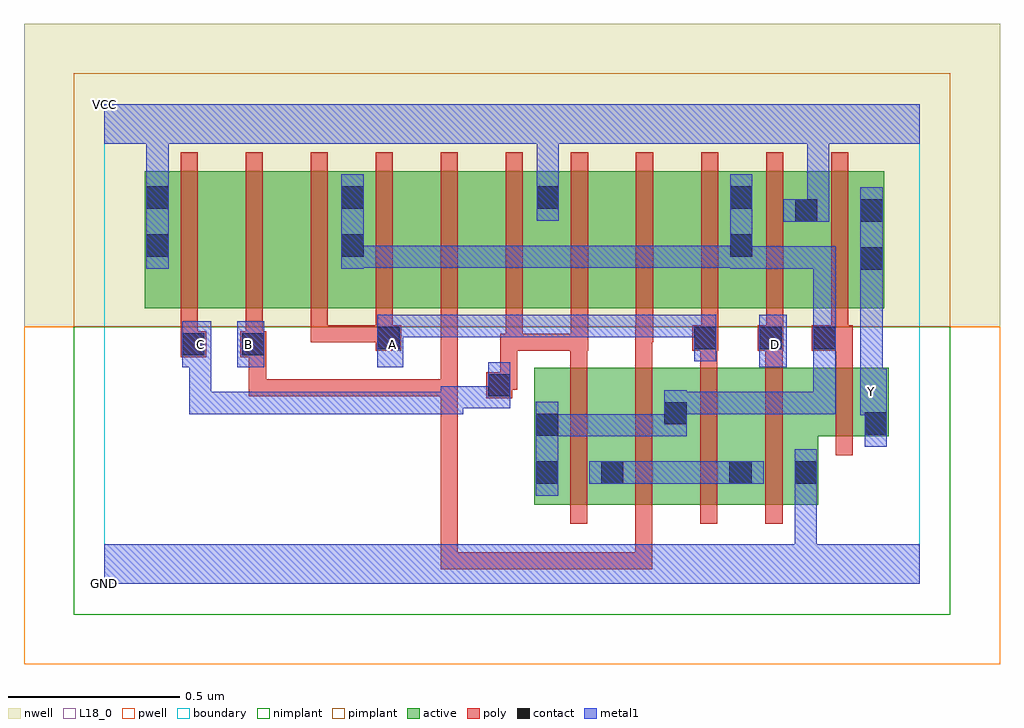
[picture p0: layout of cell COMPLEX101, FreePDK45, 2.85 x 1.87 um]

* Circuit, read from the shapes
.subckt COMPLEX101 A B C D GND VCC Y
M1 n1 C n2 VSUBS nfet w=0.4u l=0.05u
M2 n2 B n1 VSUBS nfet w=0.4u l=0.05u
M3 n1 A n2 VSUBS nfet w=0.4u l=0.05u
M4 GND D n1 VSUBS nfet w=0.4u l=0.05u
M5 Y n2 GND VSUBS nfet w=0.2u l=0.05u
M6 n3 C VCC n4 pfet w=0.4u l=0.05u
M7 n5 B n3 n4 pfet w=0.4u l=0.05u
M8 n2 A n5 n4 pfet w=0.4u l=0.05u
M9 n6 A n2 n4 pfet w=0.4u l=0.05u
M10 n7 B n6 n4 pfet w=0.4u l=0.05u
M11 VCC C n7 n4 pfet w=0.4u l=0.05u
M12 n8 C VCC n4 pfet w=0.4u l=0.05u
M13 n9 B n8 n4 pfet w=0.4u l=0.05u
M14 n2 A n9 n4 pfet w=0.4u l=0.05u
M15 VCC D n2 n4 pfet w=0.4u l=0.05u
M16 Y n2 VCC n4 pfet w=0.4u l=0.05u
.ends

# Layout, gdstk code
import gdstk
lib = gdstk.Library(unit=1e-6, precision=1e-09)
def R(c, l, rs):  # rectangles x0, y0, x1, y1
    for r in rs: c.add(gdstk.rectangle(r[:2], r[2:], *l))
def A(c, l, x, y, w, h, nx, ny, dx, dy):  # array of equal rectangles
    R(c, l, [(x+i*dx, y+j*dy, x+i*dx+w, y+j*dy+h) for i in range(nx) for j in range(ny)])
active = (1, 0)
pwell = (2, 0)
nwell = (3, 0)
nimplant = (4, 0)
pimplant = (5, 0)
poly = (9, 0)
contact = (10, 0)
metal1 = (11, 0)
L18_0 = (18, 0)
boundary = (235, 0)

complex101 = lib.new_cell('COMPLEX101')
A(complex101, active, 0.117, 0.805, 0.225, 0.4, 3, 1, 0.57, 0)
A(complex101, active, 0.342, 0.805, 0.19, 0.4, 3, 1, 0.57, 0)
R(complex101, active, [(1.255,0.23,1.52,0.63), (1.255,0.23,1.33,0.63), (1.445,0.23,1.705,0.63), (1.63,0.23,1.895,0.63), (1.82,0.23,2.085,0.63), (1.82,0.23,1.895,0.582), (2.01,0.23,2.085,0.597), (1.445,0.287,1.52,0.537), (1.63,0.295,1.705,0.63), (2.01,0.43,2.29,0.63), (2.215,0.43,2.29,0.63), (0.117,0.805,0.192,1.205), (0.532,0.805,0.762,1.205), (1.102,0.805,1.332,1.205), (1.672,0.805,1.897,1.205), (1.822,0.805,2.087,1.205), (2.012,0.805,2.277,1.205), (2.202,0.805,2.277,1.2), (0.687,0.907,0.762,1.2), (1.257,0.907,1.332,1.205), (1.822,0.907,1.897,1.2), (2.012,0.907,2.087,1.205)])
R(complex101, pwell, [(-0.235,-0.235,2.615,0.75)])
R(complex101, nwell, [(-0.235,0.75,2.615,1.635)])
R(complex101, nimplant, [(-0.09,-0.09,2.47,0.75)])
R(complex101, pimplant, [(-0.09,0.75,2.47,1.49)])
A(complex101, poly, 1.36, 0.175, 0.05, 0.51, 4, 1, 0.19, 0)
A(complex101, poly, 1.552, 0.705, 0.05, 0.095, 4, 1, 0.19, 0)
A(complex101, poly, 0.222, 0.75, 0.05, 0.51, 11, 1, 0.19, 0)
R(complex101, poly, [(0.982,0.042,1.032,0.092), (0.982,0.042,1.032,0.092), (0.982,0.042,1.032,0.092), (0.982,0.042,1.032,0.092), (0.982,0.042,1.032,0.092), (0.982,0.042,1.277,0.092), (0.982,0.042,1.032,0.597), (1.227,0.042,1.277,0.092), (1.227,0.042,1.277,0.092), (1.227,0.042,1.277,0.092), (1.227,0.042,1.41,0.092), (1.36,0.042,1.41,0.092), (1.36,0.042,1.6,0.092), (1.55,0.042,1.6,0.225), (1.55,0.042,1.6,0.092), (1.55,0.042,1.6,0.092), (1.55,0.042,1.6,0.092), (2.135,0.375,2.185,0.685), (1.115,0.542,1.19,0.617), (0.422,0.547,0.472,0.597), (0.422,0.547,0.472,0.597), (0.422,0.547,0.472,0.597), (0.422,0.547,0.472,0.597), (0.422,0.547,0.472,0.597), (0.422,0.547,0.605,0.597), (0.422,0.547,0.472,0.712), (0.555,0.547,0.605,0.597), (0.555,0.547,0.605,0.597), (0.555,0.547,0.605,0.597), (0.555,0.547,0.9,0.597), (0.85,0.547,0.9,0.597), (0.85,0.547,0.9,0.597), (0.85,0.547,0.9,0.597), (0.85,0.547,1.032,0.597), (0.982,0.547,1.032,0.597), (0.982,0.547,1.032,0.597), (0.982,0.547,1.032,0.597), (0.982,0.547,1.032,0.597), (0.982,0.547,1.032,0.597), (0.982,0.547,1.032,0.597), (0.982,0.547,1.032,0.597), (0.982,0.547,1.032,0.8), (1.14,0.567,1.19,0.617), (1.14,0.567,1.205,0.617), (1.155,0.567,1.205,0.73), (1.36,0.635,1.41,0.73), (1.55,0.635,1.6,0.755), (1.74,0.635,1.79,0.73), (1.93,0.635,1.98,0.73), (2.135,0.635,2.185,0.73), (0.222,0.662,0.297,0.737), (0.397,0.662,0.472,0.737), (0.792,0.68,0.867,0.755), (1.155,0.68,1.222,0.73), (1.172,0.68,1.222,0.8), (1.172,0.68,1.41,0.73), (1.36,0.68,1.412,0.73), (1.36,0.68,1.41,0.73), (1.36,0.68,1.41,0.73), (1.362,0.68,1.412,0.8), (1.717,0.68,1.792,0.755), (1.907,0.68,1.982,0.755), (2.065,0.68,2.185,0.755), (0.222,0.687,0.272,0.8), (0.412,0.687,0.462,0.8), (0.602,0.705,0.652,0.8), (0.602,0.705,0.652,0.755), (0.602,0.705,0.652,0.755), (0.602,0.705,0.652,0.755), (0.602,0.705,0.842,0.755), (0.792,0.705,0.842,0.8), (1.55,0.705,1.602,0.755)])
A(complex101, contact, 0.122, 1.095, 0.065, 0.065, 3, 1, 0.57, 0)
R(complex101, contact, [(1.26,0.292,1.325,0.357), (1.45,0.292,1.515,0.357), (1.825,0.292,1.89,0.357), (2.015,0.292,2.08,0.357), (1.26,0.432,1.325,0.497), (2.22,0.435,2.285,0.5), (1.635,0.465,1.7,0.53), (1.12,0.547,1.185,0.612), (0.227,0.667,0.292,0.732), (0.402,0.667,0.467,0.732), (0.797,0.685,0.862,0.75), (1.722,0.685,1.787,0.75), (1.912,0.685,1.977,0.75), (2.07,0.685,2.135,0.75), (2.207,0.917,2.272,0.982), (0.122,0.955,0.187,1.02), (0.692,0.955,0.757,1.02), (1.827,0.955,1.892,1.02), (2.017,1.057,2.082,1.122), (2.207,1.057,2.272,1.122), (1.827,1.095,1.892,1.16)])
R(complex101, metal1, [(0,0,2.38,0.115), (2.015,0.05,2.08,0.115), (2.015,0.05,2.08,0.115), (2.015,0.05,2.08,0.322), (1.26,0.257,1.325,0.532), (2.015,0.257,2.08,0.392), (1.415,0.292,1.55,0.357), (1.485,0.292,1.55,0.357), (1.485,0.292,1.55,0.357), (1.485,0.292,1.717,0.357), (1.652,0.292,1.717,0.357), (1.652,0.292,1.717,0.357), (1.652,0.292,1.717,0.357), (1.652,0.292,1.855,0.357), (1.79,0.292,1.925,0.357), (2.22,0.4,2.285,0.535), (1.26,0.43,1.325,0.495), (1.26,0.43,1.325,0.495), (1.26,0.43,1.562,0.495), (1.497,0.43,1.562,0.495), (1.497,0.43,1.562,0.495), (1.497,0.43,1.562,0.495), (1.497,0.43,1.7,0.495), (1.635,0.43,1.7,0.565), (2.22,0.47,2.285,0.557), (2.207,0.492,2.285,0.627), (0.247,0.495,0.312,0.56), (0.247,0.495,0.45,0.56), (0.247,0.495,0.312,0.697), (0.385,0.495,0.45,0.56), (0.385,0.495,0.45,0.56), (0.385,0.495,0.45,0.56), (0.385,0.495,0.62,0.56), (0.555,0.495,0.62,0.56), (0.555,0.495,0.62,0.56), (0.555,0.495,0.62,0.56), (0.555,0.495,0.757,0.56), (0.692,0.495,0.757,0.56), (0.692,0.495,1.047,0.56), (0.982,0.495,1.047,0.56), (0.982,0.495,1.047,0.56), (0.982,0.495,1.047,0.577), (1.635,0.495,1.7,0.56), (1.635,0.495,1.7,0.56), (1.635,0.495,1.91,0.56), (1.845,0.495,1.91,0.56), (1.845,0.495,1.91,0.56), (1.845,0.495,1.91,0.56), (1.845,0.495,2.135,0.56), (2.07,0.495,2.135,0.56), (2.07,0.495,2.135,0.785), (0.982,0.512,1.185,0.577), (1.12,0.512,1.185,0.647), (1.12,0.512,1.185,0.577), (1.12,0.512,1.185,0.577), (1.12,0.512,1.185,0.577), (1.12,0.512,1.185,0.577), (2.207,0.562,2.272,0.947), (0.227,0.632,0.312,0.767), (0.247,0.632,0.312,0.697), (0.247,0.632,0.312,0.697), (0.387,0.632,0.467,0.767), (0.797,0.632,0.872,0.785), (1.912,0.632,1.992,0.785), (1.722,0.65,1.787,0.785), (2.07,0.65,2.135,0.785), (0.807,0.72,1.01,0.785), (0.945,0.72,1.01,0.785), (0.945,0.72,1.01,0.785), (0.945,0.72,1.01,0.785), (0.945,0.72,1.187,0.785), (1.122,0.72,1.187,0.785), (1.122,0.72,1.187,0.785), (1.122,0.72,1.187,0.785), (1.122,0.72,1.325,0.785), (1.26,0.72,1.325,0.785), (1.26,0.72,1.325,0.785), (1.26,0.72,1.325,0.785), (1.26,0.72,1.462,0.785), (1.397,0.72,1.462,0.785), (1.397,0.72,1.462,0.785), (1.397,0.72,1.462,0.785), (1.397,0.72,1.717,0.785), (1.652,0.72,1.717,0.785), (1.652,0.72,1.787,0.785), (2.07,0.72,2.135,0.785), (2.07,0.72,2.135,0.785), (2.07,0.72,2.135,0.985), (2.207,0.882,2.272,1.157), (0.122,0.92,0.187,1.195), (0.692,0.92,0.757,1.195), (1.827,0.92,1.892,1.195), (1.827,0.92,1.892,0.985), (1.827,0.92,1.892,0.985), (1.827,0.92,2.135,0.985), (2.07,0.92,2.135,0.985), (0.692,0.922,0.757,0.987), (0.692,0.922,0.757,0.987), (0.692,0.922,1.047,0.987), (0.982,0.922,1.047,0.987), (0.982,0.922,1.047,0.987), (0.982,0.922,1.047,0.987), (0.982,0.922,1.187,0.987), (1.122,0.922,1.187,0.987), (1.122,0.922,1.187,0.987), (1.122,0.922,1.187,0.987), (1.122,0.922,1.325,0.987), (1.26,0.922,1.325,0.987), (1.26,0.922,1.325,0.987), (1.26,0.922,1.325,0.987), (1.26,0.922,1.562,0.987), (1.497,0.922,1.562,0.987), (1.497,0.922,1.562,0.987), (1.497,0.922,1.562,0.987), (1.497,0.922,1.717,0.987), (1.652,0.922,1.717,0.987), (1.652,0.922,1.717,0.987), (1.652,0.922,1.717,0.987), (1.652,0.922,1.892,0.987), (1.982,1.057,2.117,1.122), (2.052,1.057,2.117,1.35), (1.262,1.06,1.327,1.195), (0.122,1.13,0.187,1.35), (1.262,1.13,1.327,1.35), (0,1.285,2.38,1.4)])
R(complex101, L18_0, [(0,0,2.38,0.115), (2.015,0.05,2.08,0.115), (2.015,0.05,2.08,0.115), (2.015,0.05,2.08,0.322), (2.015,0.257,2.08,0.392), (2.22,0.4,2.285,0.535), (2.22,0.47,2.285,0.557), (2.207,0.492,2.285,0.627), (0.247,0.495,0.312,0.56), (0.247,0.495,0.312,0.697), (0.247,0.495,0.45,0.56), (0.385,0.495,0.45,0.56), (0.385,0.495,0.45,0.56), (0.385,0.495,0.45,0.56), (0.385,0.495,0.62,0.56), (0.555,0.495,0.62,0.56), (0.555,0.495,0.62,0.56), (0.555,0.495,0.62,0.56), (0.555,0.495,0.757,0.56), (0.692,0.495,0.757,0.56), (0.692,0.495,1.047,0.56), (0.982,0.495,1.047,0.56), (0.982,0.495,1.047,0.56), (0.982,0.495,1.047,0.577), (0.982,0.512,1.185,0.577), (1.12,0.512,1.185,0.577), (1.12,0.512,1.185,0.577), (1.12,0.512,1.185,0.577), (1.12,0.512,1.185,0.577), (1.12,0.512,1.185,0.647), (2.207,0.527,2.272,0.592), (2.207,0.562,2.272,0.947), (0.227,0.632,0.312,0.767), (0.247,0.632,0.312,0.697), (0.247,0.632,0.312,0.697), (0.387,0.632,0.467,0.767), (0.797,0.632,0.872,0.785), (1.912,0.632,1.992,0.785), (1.722,0.65,1.787,0.785), (0.247,0.667,0.312,0.732), (0.387,0.667,0.452,0.732), (0.807,0.667,0.872,0.732), (1.927,0.667,1.992,0.732), (0.807,0.72,1.01,0.785), (0.945,0.72,1.01,0.785), (0.945,0.72,1.01,0.785), (0.945,0.72,1.01,0.785), (0.945,0.72,1.187,0.785), (1.122,0.72,1.187,0.785), (1.122,0.72,1.187,0.785), (1.122,0.72,1.187,0.785), (1.122,0.72,1.325,0.785), (1.26,0.72,1.325,0.785), (1.26,0.72,1.325,0.785), (1.26,0.72,1.325,0.785), (1.26,0.72,1.462,0.785), (1.397,0.72,1.462,0.785), (1.397,0.72,1.462,0.785), (1.397,0.72,1.462,0.785), (1.397,0.72,1.717,0.785), (1.652,0.72,1.717,0.785), (1.652,0.72,1.787,0.785), (2.207,0.882,2.272,1.157), (0.122,0.92,0.187,1.195), (1.982,1.057,2.117,1.122), (2.052,1.057,2.117,1.35), (1.262,1.06,1.327,1.195), (0.122,1.13,0.187,1.35), (1.262,1.13,1.327,1.35), (0,1.285,2.38,1.4)])
R(complex101, boundary, [(0,0,2.38,1.4)])
complex101.add(gdstk.Label('A', (0.84,0.7), layer=11, texttype=0))
complex101.add(gdstk.Label('B', (0.42,0.7), layer=11, texttype=0))
complex101.add(gdstk.Label('C', (0.28,0.7), layer=11, texttype=0))
complex101.add(gdstk.Label('D', (1.96,0.7), layer=11, texttype=0))
complex101.add(gdstk.Label('Y', (2.24,0.56), layer=11, texttype=0))
complex101.add(gdstk.Label('VCC', (0,1.4), layer=11, texttype=0))
complex101.add(gdstk.Label('GND', (0,0), layer=11, texttype=0))

lib.write_gds('COMPLEX101.gds')
